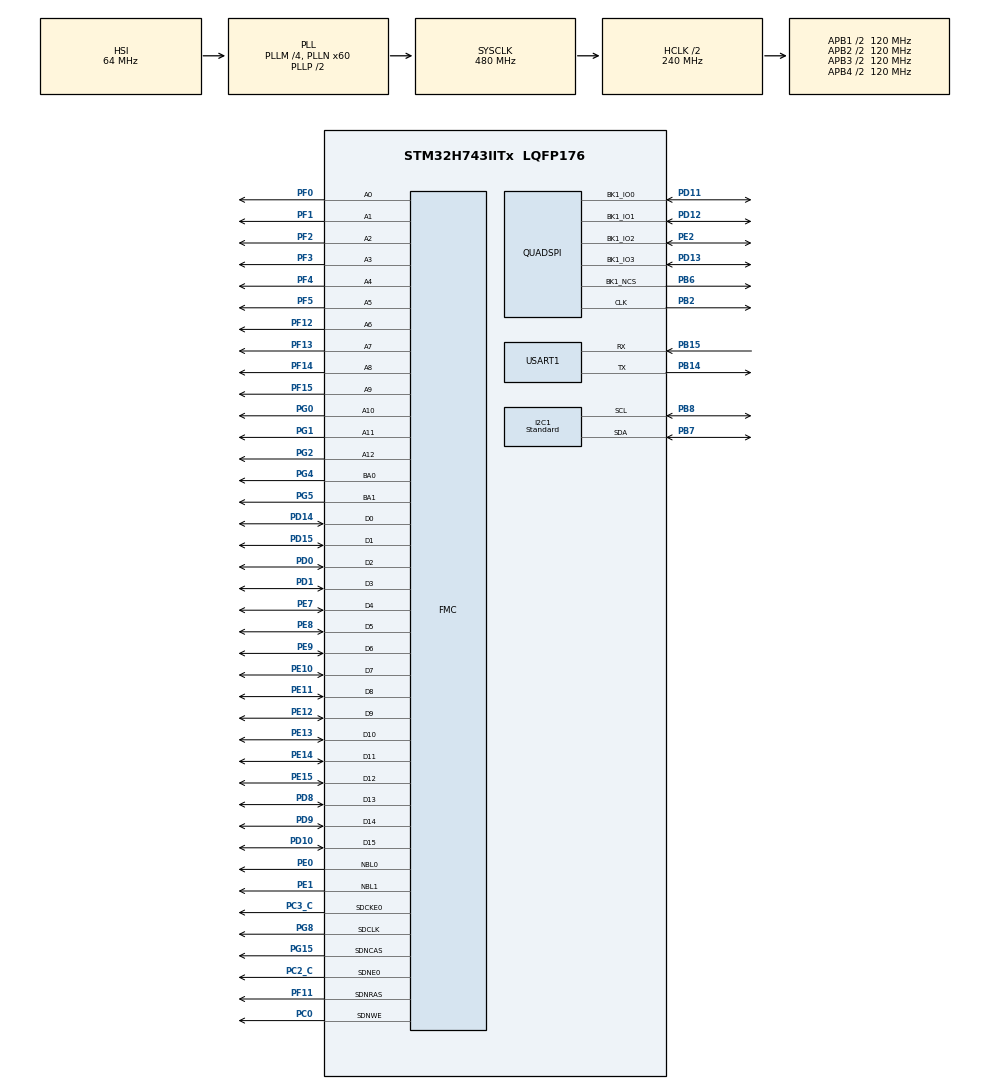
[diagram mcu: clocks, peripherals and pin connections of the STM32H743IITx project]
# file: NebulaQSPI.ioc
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CORTEX_M7.AccessPermission_S-Cortex_Memory_Protection_Unit_Region1_Settings_S=MPU_REGION_FULL_ACCESS
CORTEX_M7.AccessPermission_S-Cortex_Memory_Protection_Unit_Region2_Settings_S=MPU_REGION_FULL_ACCESS
CORTEX_M7.BaseAddress_S-Cortex_Memory_Protection_Unit_Region1_Settings_S=0x90000000
CORTEX_M7.BaseAddress_S-Cortex_Memory_Protection_Unit_Region2_Settings_S=0xC0000000
CORTEX_M7.Enable_S-Cortex_Memory_Protection_Unit_Region1_Settings_S=MPU_REGION_ENABLE
CORTEX_M7.Enable_S-Cortex_Memory_Protection_Unit_Region2_Settings_S=MPU_REGION_ENABLE
CORTEX_M7.IsBufferable_S-Cortex_Memory_Protection_Unit_Region1_Settings_S=MPU_ACCESS_BUFFERABLE
CORTEX_M7.IsBufferable_S-Cortex_Memory_Protection_Unit_Region2_Settings_S=MPU_ACCESS_BUFFERABLE
CORTEX_M7.IsCacheable_S-Cortex_Memory_Protection_Unit_Region1_Settings_S=MPU_ACCESS_CACHEABLE
CORTEX_M7.IsCacheable_S-Cortex_Memory_Protection_Unit_Region2_Settings_S=MPU_ACCESS_CACHEABLE
CORTEX_M7.IsShareable_S-Cortex_Memory_Protection_Unit_Region1_Settings_S=MPU_ACCESS_SHAREABLE
CORTEX_M7.IsShareable_S-Cortex_Memory_Protection_Unit_Region2_Settings_S=MPU_ACCESS_SHAREABLE
CORTEX_M7.Size_S-Cortex_Memory_Protection_Unit_Region1_Settings_S=MPU_REGION_SIZE_8MB
CORTEX_M7.Size_S-Cortex_Memory_Protection_Unit_Region2_Settings_S=MPU_REGION_SIZE_32MB
CORTEX_M7.TypeExtField_S-Cortex_Memory_Protection_Unit_Region2_Settings_S=MPU_TEX_LEVEL1
CORTEX_M7.default_mode_Activation=1
CRC.CRCLength=CRC_POLYLENGTH_16B
CRC.DefaultInitValueUse=DEFAULT_INIT_VALUE_DISABLE
CRC.DefaultPolynomialUse=DEFAULT_POLYNOMIAL_DISABLE
CRC.GeneratingPolynomial=X15+X2+X0
CRC.InitValue=0xffff
CRC.InputDataInversionMode=CRC_INPUTDATA_INVERSION_BYTE
CRC.OutputDataInversionMode=CRC_OUTPUTDATA_INVERSION_ENABLE
FMC.CASLatency1=FMC_SDRAM_CAS_LATENCY_3
FMC.ColumnBitsNumber1=FMC_SDRAM_COLUMN_BITS_NUM_9
FMC.ExitSelfRefreshDelay1=8
FMC.LoadToActiveDelay1=2
FMC.RCDDelay1=6
FMC.RPDelay1=2
FMC.RPDelay2=2
FMC.ReadBurst1=FMC_SDRAM_RBURST_ENABLE
FMC.ReadBurst2=FMC_SDRAM_RBURST_ENABLE
FMC.ReadPipeDelay1=FMC_SDRAM_RPIPE_DELAY_1
FMC.ReadPipeDelay2=FMC_SDRAM_RPIPE_DELAY_1
FMC.RowCycleDelay1=6
FMC.RowCycleDelay2=6
FMC.SDClockPeriod1=FMC_SDRAM_CLOCK_PERIOD_2
FMC.SDClockPeriod2=FMC_SDRAM_CLOCK_PERIOD_2
FMC.SelfRefreshTime1=6
FMC.WriteRecoveryTime1=2
I2C1.I2C_Speed_Mode=I2C_Standard
I2C1.Timing=0x307075B1
IWDG1.Prescaler=IWDG_PRESCALER_256
IWDG1.Reload=749
Mcu.Family=STM32H7
Mcu.Name=STM32H743IITx
Mcu.Package=LQFP176
NVIC.FMC_IRQn=true\:0\:0\:false\:false\:true\:true\:true\:true
NVIC.I2C1_ER_IRQn=true\:0\:0\:false\:false\:true\:true\:true\:true
NVIC.I2C1_EV_IRQn=true\:0\:0\:false\:false\:true\:true\:true\:true
NVIC.PriorityGroup=NVIC_PRIORITYGROUP_4
NVIC.QUADSPI_IRQn=true\:0\:0\:false\:false\:true\:true\:true\:true
NVIC.USART1_IRQn=true\:0\:0\:false\:false\:true\:true\:true\:true
PB14.Mode=Asynchronous
PB14.Signal=USART1_TX
PB15.Mode=Asynchronous
PB15.Signal=USART1_RX
PB2.GPIO_Speed=GPIO_SPEED_FREQ_VERY_HIGH
PB2.Mode=Single Bank 1
PB2.Signal=QUADSPI_CLK
PB6.GPIO_FM6=__NULL
PB6.GPIO_Speed=GPIO_SPEED_FREQ_VERY_HIGH
PB6.Mode=Single Bank 1
PB6.Signal=QUADSPI_BK1_NCS
PB7.Mode=I2C
PB7.Signal=I2C1_SDA
PB8.Mode=I2C
PB8.Signal=I2C1_SCL
PC0.Signal=FMC_SDNWE
PC14-OSC32_IN\ (OSC32_IN).Mode=LSE-External-Oscillator
PC14-OSC32_IN\ (OSC32_IN).Signal=RCC_OSC32_IN
PC15-OSC32_OUT\ (OSC32_OUT).Mode=LSE-External-Oscillator
PC15-OSC32_OUT\ (OSC32_OUT).Signal=RCC_OSC32_OUT
PC2_C.Mode=SdramChipSelect1_1
PC2_C.Signal=FMC_SDNE0
PC3_C.Mode=SdramChipSelect1_1
PC3_C.Signal=FMC_SDCKE0
PD0.Signal=FMC_D2_DA2
PD1.Signal=FMC_D3_DA3
PD10.Signal=FMC_D15_DA15
PD11.GPIO_Speed=GPIO_SPEED_FREQ_VERY_HIGH
PD11.Mode=Single Bank 1
PD11.Signal=QUADSPI_BK1_IO0
PD12.GPIO_Speed=GPIO_SPEED_FREQ_VERY_HIGH
PD12.Mode=Single Bank 1
PD12.Signal=QUADSPI_BK1_IO1
PD13.GPIO_Speed=GPIO_SPEED_FREQ_VERY_HIGH
PD13.Mode=Single Bank 1
PD13.Signal=QUADSPI_BK1_IO3
PD14.Signal=FMC_D0_DA0
PD15.Signal=FMC_D1_DA1
PD8.Signal=FMC_D13_DA13
PD9.Signal=FMC_D14_DA14
PE0.Signal=FMC_NBL0
PE1.Signal=FMC_NBL1
PE10.Signal=FMC_D7_DA7
PE11.Signal=FMC_D8_DA8
PE12.Signal=FMC_D9_DA9
PE13.Signal=FMC_D10_DA10
PE14.Signal=FMC_D11_DA11
PE15.Signal=FMC_D12_DA12
PE2.GPIO_Speed=GPIO_SPEED_FREQ_VERY_HIGH
PE2.Mode=Single Bank 1
PE2.Signal=QUADSPI_BK1_IO2
PE7.Signal=FMC_D4_DA4
PE8.Signal=FMC_D5_DA5
PE9.Signal=FMC_D6_DA6
PF0.Signal=FMC_A0
PF1.Signal=FMC_A1
PF11.Signal=FMC_SDNRAS
PF12.Signal=FMC_A6
PF13.Signal=FMC_A7
PF14.Signal=FMC_A8
PF15.Signal=FMC_A9
PF2.Signal=FMC_A2
PF3.Signal=FMC_A3
PF4.Signal=FMC_A4
PF5.Signal=FMC_A5
PG0.Signal=FMC_A10
PG1.Signal=FMC_A11
PG15.Signal=FMC_SDNCAS
PG2.Signal=FMC_A12
PG4.Signal=FMC_A14_BA0
PG5.Signal=FMC_A15_BA1
PG8.Signal=FMC_SDCLK
PH0-OSC_IN\ (PH0).Mode=HSE-External-Oscillator
PH0-OSC_IN\ (PH0).Signal=RCC_OSC_IN
PH1-OSC_OUT\ (PH1).Mode=HSE-External-Oscillator
PH1-OSC_OUT\ (PH1).Signal=RCC_OSC_OUT
ProjectManager.HeapSize=0x200
ProjectManager.StackSize=0x400
ProjectManager.TargetToolchain=CMake
QUADSPI.ChipSelectHighTime=QSPI_CS_HIGH_TIME_2_CYCLE
QUADSPI.ClockPrescaler=3
QUADSPI.FlashSize=22
QUADSPI.SampleShifting=QSPI_SAMPLE_SHIFTING_HALFCYCLE
RCC.ADCFreq_Value=129000000
RCC.APB1Freq_Value=120000000
RCC.APB2Freq_Value=120000000
RCC.APB3Freq_Value=120000000
RCC.APB4Freq_Value=120000000
RCC.CortexFreq_Value=480000000
RCC.D1PPRE=RCC_APB3_DIV2
RCC.D2PPRE1=RCC_APB1_DIV2
RCC.D2PPRE2=RCC_APB2_DIV2
RCC.D3PPRE=RCC_APB4_DIV2
RCC.DIVM1=4
RCC.DIVN1=60
RCC.HCLKFreq_Value=240000000
RCC.HPRE=RCC_HCLK_DIV2
RCC.PLL2FRACN=0
RCC.PLL3FRACN=0
RCC.PLLFRACN=0
RCC.SYSCLKFreq_VALUE=480000000
RCC.SYSCLKSource=RCC_SYSCLKSOURCE_PLLCLK
RCC.USBFreq_Value=480000000
SH.FMC_A0.0=FMC_A0,13b-sda1
SH.FMC_A1.0=FMC_A1,13b-sda1
SH.FMC_A10.0=FMC_A10,13b-sda1
SH.FMC_A11.0=FMC_A11,13b-sda1
SH.FMC_A12.0=FMC_A12,13b-sda1
SH.FMC_A14_BA0.0=FMC_BA0,FourSdramBanks1
SH.FMC_A15_BA1.0=FMC_BA1,FourSdramBanks1
SH.FMC_A2.0=FMC_A2,13b-sda1
SH.FMC_A3.0=FMC_A3,13b-sda1
SH.FMC_A4.0=FMC_A4,13b-sda1
SH.FMC_A5.0=FMC_A5,13b-sda1
SH.FMC_A6.0=FMC_A6,13b-sda1
SH.FMC_A7.0=FMC_A7,13b-sda1
SH.FMC_A8.0=FMC_A8,13b-sda1
SH.FMC_A9.0=FMC_A9,13b-sda1
SH.FMC_D0_DA0.0=FMC_D0,sd-16b-d1
SH.FMC_D10_DA10.0=FMC_D10,sd-16b-d1
SH.FMC_D11_DA11.0=FMC_D11,sd-16b-d1
SH.FMC_D12_DA12.0=FMC_D12,sd-16b-d1
SH.FMC_D13_DA13.0=FMC_D13,sd-16b-d1
SH.FMC_D14_DA14.0=FMC_D14,sd-16b-d1
SH.FMC_D15_DA15.0=FMC_D15,sd-16b-d1
SH.FMC_D1_DA1.0=FMC_D1,sd-16b-d1
SH.FMC_D2_DA2.0=FMC_D2,sd-16b-d1
SH.FMC_D3_DA3.0=FMC_D3,sd-16b-d1
SH.FMC_D4_DA4.0=FMC_D4,sd-16b-d1
SH.FMC_D5_DA5.0=FMC_D5,sd-16b-d1
SH.FMC_D6_DA6.0=FMC_D6,sd-16b-d1
SH.FMC_D7_DA7.0=FMC_D7,sd-16b-d1
SH.FMC_D8_DA8.0=FMC_D8,sd-16b-d1
SH.FMC_D9_DA9.0=FMC_D9,sd-16b-d1
SH.FMC_NBL0.0=FMC_NBL0,Sd2ByteEnable1
SH.FMC_NBL1.0=FMC_NBL1,Sd2ByteEnable1
SH.FMC_SDCLK.0=FMC_SDCLK,13b-sda1
SH.FMC_SDNCAS.0=FMC_SDNCAS,13b-sda1
SH.FMC_SDNRAS.0=FMC_SDNRAS,13b-sda1
SH.FMC_SDNWE.0=FMC_SDNWE,13b-sda1
USART1.VirtualMode-Asynchronous=VM_ASYNC
VP_CRC_VS_CRC.Mode=CRC_Activate
VP_IWDG1_VS_IWDG.Mode=IWDG_Activate
VP_MEMORYMAP_VS_MEMORYMAP.Mode=CurAppReg
board=custom

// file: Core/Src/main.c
/* USER CODE BEGIN Header */
/**
  ******************************************************************************
  * @file           : main.c
  * @brief          : Main program body
  ******************************************************************************
  * @attention
  *
  * Copyright (c) 2025 STMicroelectronics.
  * All rights reserved.
  *
  * This software is licensed under terms that can be found in the LICENSE file
  * in the root directory of this software component.
  * If no LICENSE file comes with this software, it is provided AS-IS.
  *
  ******************************************************************************
  */
/* USER CODE END Header */
#include "main.h"
#include "crc.h"
#include "i2c.h"
#include "iwdg.h"
#include "memorymap.h"
#include "quadspi.h"
#include "usart.h"
#include "gpio.h"
#include "fmc.h"

/* USER CODE BEGIN Includes */
#include <stdio.h>
#include <string.h>

#include "at24c32.h"
#include "config.h"
#include "core.h"
#include "uart_handler.h"
#include "utils.h"
#include "w25qxx.h"
/* USER CODE END Includes */

void SystemClock_Config(void);

static void MPU_Config(void);

int main(void) {

    /* MPU Configuration--------------------------------------------------------*/
    MPU_Config();

    /* MCU Configuration--------------------------------------------------------*/

    /* Reset of all peripherals, Initializes the Flash interface and the Systick. */
    HAL_Init();

    /* Configure the system clock */
    SystemClock_Config();

    /* Initialize all configured peripherals */
    MX_GPIO_Init();
    MX_USART1_UART_Init();
    MX_I2C1_Init();
    MX_CRC_Init();
    MX_QUADSPI_Init();
    MX_IWDG1_Init();
    MX_FMC_Init();
    /* USER CODE BEGIN 2 */
    uart_init();
    printf("boot启动\n");
    const int8_t result = QSPI_W25Qxx_MemoryMappedMode();
    if (result == QSPI_W25Qxx_OK) {
        printf("进入内存映射模式成功\r\n");
    } else {
        printf("内存映射错误,错误代码:%d\r\n", result);
        NVIC_SystemReset();
    }
    start_load();
    /* USER CODE END 2 */

    /* Infinite loop */
    while (1) {

        /* USER CODE BEGIN 3 */
        UART_Process();
    }
    /* USER CODE END 3 */
}

void SystemClock_Config(void) {
    RCC_OscInitTypeDef RCC_OscInitStruct = {0};
    RCC_ClkInitTypeDef RCC_ClkInitStruct = {0};

    /** Supply configuration update enable
    */
    HAL_PWREx_ConfigSupply(PWR_LDO_SUPPLY);

    /** Configure the main internal regulator output voltage
    */
    __HAL_PWR_VOLTAGESCALING_CONFIG(PWR_REGULATOR_VOLTAGE_SCALE0);

    while (!__HAL_PWR_GET_FLAG(PWR_FLAG_VOSRDY)) {
    }

    /** Initializes the RCC Oscillators according to the specified parameters
    * in the RCC_OscInitTypeDef structure.
    */
    RCC_OscInitStruct.OscillatorType = RCC_OSCILLATORTYPE_HSI | RCC_OSCILLATORTYPE_LSI;
    RCC_OscInitStruct.HSIState = RCC_HSI_DIV1;
    RCC_OscInitStruct.HSICalibrationValue = RCC_HSICALIBRATION_DEFAULT;
    RCC_OscInitStruct.LSIState = RCC_LSI_ON;
    RCC_OscInitStruct.PLL.PLLState = RCC_PLL_ON;
    RCC_OscInitStruct.PLL.PLLSource = RCC_PLLSOURCE_HSI;
    RCC_OscInitStruct.PLL.PLLM = 4;
    RCC_OscInitStruct.PLL.PLLN = 60;
    RCC_OscInitStruct.PLL.PLLP = 2;
    RCC_OscInitStruct.PLL.PLLQ = 2;
    RCC_OscInitStruct.PLL.PLLR = 2;
    RCC_OscInitStruct.PLL.PLLRGE = RCC_PLL1VCIRANGE_3;
    RCC_OscInitStruct.PLL.PLLVCOSEL = RCC_PLL1VCOWIDE;
    RCC_OscInitStruct.PLL.PLLFRACN = 0;
    if (HAL_RCC_OscConfig(&RCC_OscInitStruct) != HAL_OK) {
        Error_Handler();
    }

    /** Initializes the CPU, AHB and APB buses clocks
    */
    RCC_ClkInitStruct.ClockType = RCC_CLOCKTYPE_HCLK | RCC_CLOCKTYPE_SYSCLK
                                  | RCC_CLOCKTYPE_PCLK1 | RCC_CLOCKTYPE_PCLK2
                                  | RCC_CLOCKTYPE_D3PCLK1 | RCC_CLOCKTYPE_D1PCLK1;
    RCC_ClkInitStruct.SYSCLKSource = RCC_SYSCLKSOURCE_PLLCLK;
    RCC_ClkInitStruct.SYSCLKDivider = RCC_SYSCLK_DIV1;
    RCC_ClkInitStruct.AHBCLKDivider = RCC_HCLK_DIV2;
    RCC_ClkInitStruct.APB3CLKDivider = RCC_APB3_DIV2;
    RCC_ClkInitStruct.APB1CLKDivider = RCC_APB1_DIV2;
    RCC_ClkInitStruct.APB2CLKDivider = RCC_APB2_DIV2;
    RCC_ClkInitStruct.APB4CLKDivider = RCC_APB4_DIV2;

    if (HAL_RCC_ClockConfig(&RCC_ClkInitStruct, FLASH_LATENCY_4) != HAL_OK) {
        Error_Handler();
    }
}

/* MPU Configuration */

void MPU_Config(void) {
    MPU_Region_InitTypeDef MPU_InitStruct = {0};

    /* Disables the MPU */
    HAL_MPU_Disable();

    /** Initializes and configures the Region and the memory to be protected
    */
    MPU_InitStruct.Enable = MPU_REGION_ENABLE;
    MPU_InitStruct.Number = MPU_REGION_NUMBER0;
    MPU_InitStruct.BaseAddress = 0x0;
    MPU_InitStruct.Size = MPU_REGION_SIZE_4GB;
    MPU_InitStruct.SubRegionDisable = 0x87;
    MPU_InitStruct.TypeExtField = MPU_TEX_LEVEL0;
    MPU_InitStruct.AccessPermission = MPU_REGION_NO_ACCESS;
    MPU_InitStruct.DisableExec = MPU_INSTRUCTION_ACCESS_DISABLE;
    MPU_InitStruct.IsShareable = MPU_ACCESS_SHAREABLE;
    MPU_InitStruct.IsCacheable = MPU_ACCESS_NOT_CACHEABLE;
    MPU_InitStruct.IsBufferable = MPU_ACCESS_NOT_BUFFERABLE;

    HAL_MPU_ConfigRegion(&MPU_InitStruct);

    /** Initializes and configures the Region and the memory to be protected
    */
    MPU_InitStruct.Number = MPU_REGION_NUMBER1;
    MPU_InitStruct.BaseAddress = 0x90000000;
    MPU_InitStruct.Size = MPU_REGION_SIZE_8MB;
    MPU_InitStruct.SubRegionDisable = 0x0;
    MPU_InitStruct.AccessPermission = MPU_REGION_FULL_ACCESS;
    MPU_InitStruct.DisableExec = MPU_INSTRUCTION_ACCESS_ENABLE;
    MPU_InitStruct.IsCacheable = MPU_ACCESS_CACHEABLE;
    MPU_InitStruct.IsBufferable = MPU_ACCESS_BUFFERABLE;

    HAL_MPU_ConfigRegion(&MPU_InitStruct);

    /** Initializes and configures the Region and the memory to be protected
    */
    MPU_InitStruct.Number = MPU_REGION_NUMBER2;
    MPU_InitStruct.BaseAddress = 0xC0000000;
    MPU_InitStruct.Size = MPU_REGION_SIZE_32MB;
    MPU_InitStruct.TypeExtField = MPU_TEX_LEVEL1;

    HAL_MPU_ConfigRegion(&MPU_InitStruct);
    /* Enables the MPU */
    HAL_MPU_Enable(MPU_PRIVILEGED_DEFAULT);
}

void Error_Handler(void) {
    __disable_irq();
    while (1) {
    }
}
